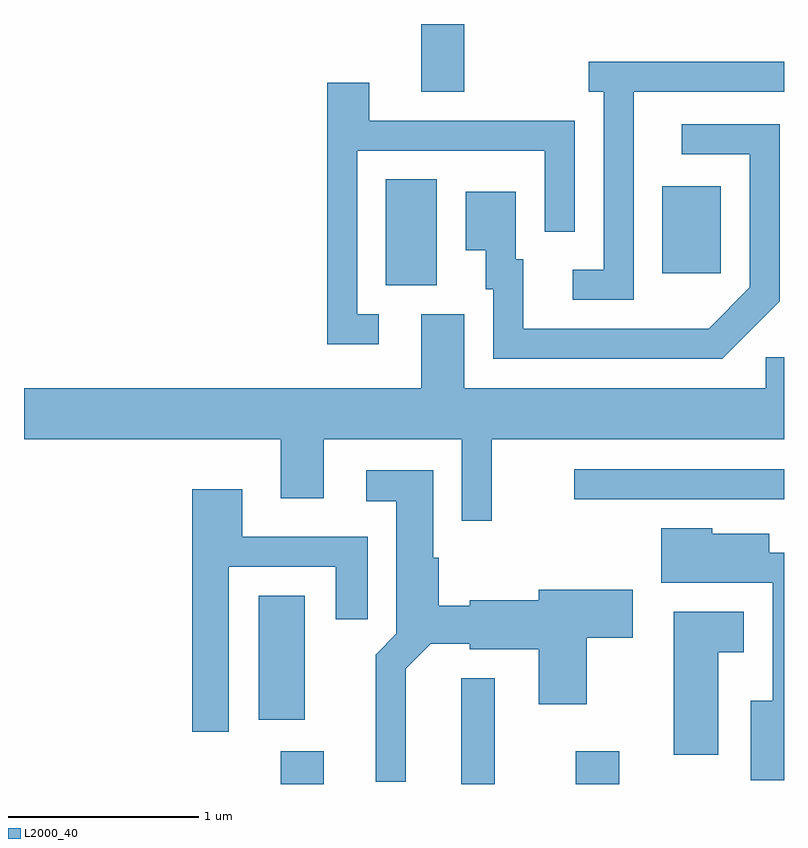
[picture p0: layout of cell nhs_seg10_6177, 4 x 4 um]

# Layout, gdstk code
import gdstk
lib = gdstk.Library(unit=1e-6, precision=1e-09)
def R(c, l, rs):  # rectangles x0, y0, x1, y1
    for r in rs: c.add(gdstk.rectangle(r[:2], r[2:], *l))
def P(c, l, *ps):  # polygons
    for p in ps: c.add(gdstk.Polygon(p, *l))
L2000_40 = (2000, 40)

nhs_seg10_6177 = lib.new_cell('nhs_seg10_6177')
R(nhs_seg10_6177, L2000_40, [(368.961,2136.522,369.189,2136.694), (369.911,2136.522,370.089,2137.079), (370.516,2136.522,370.744,2136.694), (368.846,2136.861,369.089,2137.514), (370.508,2138.021,371.611,2138.179), (369.516,2139.146,369.784,2139.704), (370.971,2139.211,371.279,2139.669), (369.701,2140.166,369.929,2140.522)])
P(nhs_seg10_6177, L2000_40, [(370.819,2140.166),(371.611,2140.166),(371.611,2140.324),(370.583,2140.324),(370.583,2140.166),(370.661,2140.166),(370.661,2139.229),(370.498,2139.229),(370.498,2139.071),(370.819,2139.071)],
  [(369.478,2138.994),(369.364,2138.994),(369.364,2139.856),(370.351,2139.856),(370.351,2139.428),(370.509,2139.428),(370.509,2140.014),(369.429,2140.014),(369.429,2140.214),(369.206,2140.214),(369.206,2138.836),(369.478,2138.836)],
  [(371.589,2139.064),(371.589,2139.994),(371.073,2139.994),(371.073,2139.836),(371.431,2139.836),(371.431,2139.137),(371.214,2138.919),(370.239,2138.919),(370.239,2139.284),(370.199,2139.284),(370.199,2139.639),(369.936,2139.639),(369.936,2139.331),(370.041,2139.331),(370.041,2139.126),(370.081,2139.126),(370.081,2138.761),(371.287,2138.761)],
  [(370.074,2138.336),(371.611,2138.336),(371.611,2138.769),(371.516,2138.769),(371.516,2138.604),(369.929,2138.604),(369.929,2138.994),(369.701,2138.994),(369.701,2138.604),(367.611,2138.604),(367.611,2138.336),(368.961,2138.336),(368.961,2138.026),(369.189,2138.026),(369.189,2138.336),(369.916,2138.336),(369.916,2137.908),(370.074,2137.908)],
  [(369.619,2137.129),(369.752,2137.261),(369.956,2137.261),(369.956,2137.231),(370.321,2137.231),(370.321,2136.941),(370.574,2136.941),(370.574,2137.291),(370.814,2137.291),(370.814,2137.544),(370.321,2137.544),(370.321,2137.489),(369.956,2137.489),(369.956,2137.459),(369.794,2137.459),(369.794,2137.714),(369.764,2137.714),(369.764,2138.174),(369.413,2138.174),(369.413,2138.011),(369.571,2138.011),(369.571,2137.312),(369.461,2137.202),(369.461,2136.533),(369.619,2136.533)],
  [(368.689,2137.666),(369.251,2137.666),(369.251,2137.388),(369.419,2137.388),(369.419,2137.824),(368.759,2137.824),(368.759,2138.074),(368.496,2138.074),(368.496,2136.796),(368.689,2136.796)],
  [(371.611,2137.739),(371.534,2137.739),(371.534,2137.839),(371.234,2137.839),(371.234,2137.869),(370.966,2137.869),(370.966,2137.581),(371.551,2137.581),(371.551,2136.959),(371.436,2136.959),(371.436,2136.541),(371.611,2136.541)],
  [(371.264,2137.216),(371.399,2137.216),(371.399,2137.429),(371.031,2137.429),(371.031,2136.676),(371.264,2136.676)])

lib.write_gds('nhs_seg10_6177.gds')
